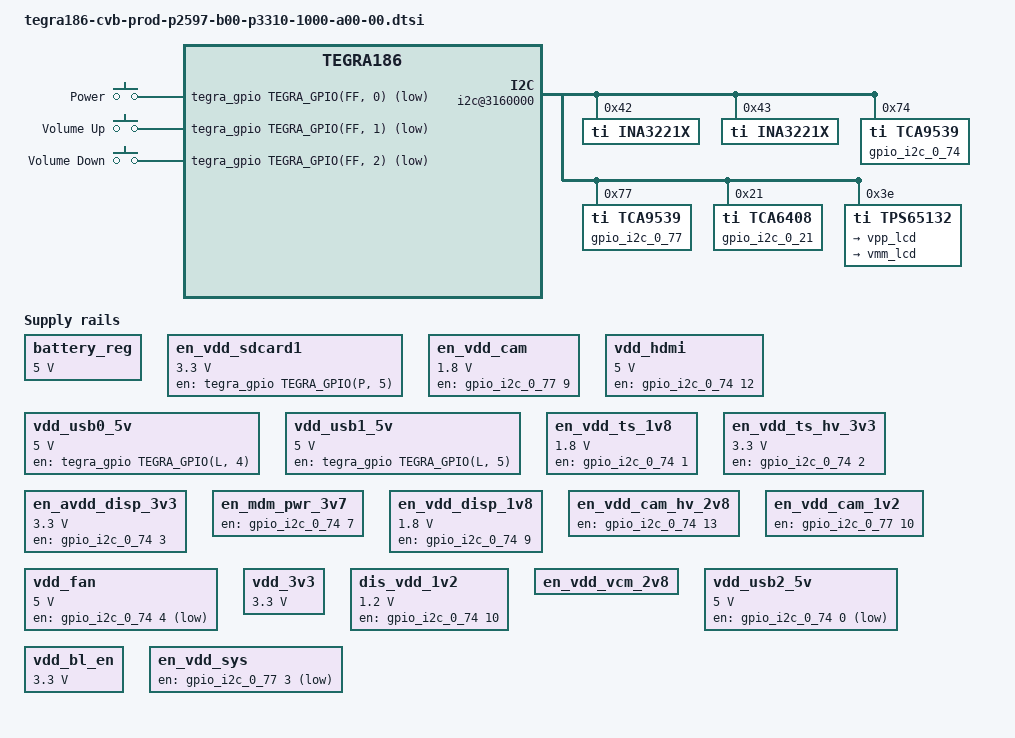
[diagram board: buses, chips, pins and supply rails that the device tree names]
/*
 * tegra186-cvb-prod-p2597-b00-p3310-1000-a00-00.dtsi: CVB-PROD P2597-B00 with
 *				P3310-1000
 *
 * Copyright (c) 2015-2016, NVIDIA CORPORATION.  All rights reserved.
 *
 * This program is free software; you can redistribute it and/or modify
 * it under the terms of the GNU General Public License as published by
 * the Free Software Foundation; version 2 of the License.
 *
 * This program is distributed in the hope that it will be useful, but WITHOUT
 * ANY WARRANTY; without even the implied warranty of MERCHANTABILITY or
 * FITNESS FOR A PARTICULAR PURPOSE.  See the GNU General Public License for
 * more details.
 */

#include <dt-bindings/gpio/tegra-gpio.h>
#include <dt-bindings/input/input.h>

/ {

	i2c@3160000 {
		ina3221x@42 {
			compatible = "ti,ina3221x";
			reg = <0x42>;
			ti,trigger-config = <0x7003>;
			ti,continuous-config = <0x7c07>;
			ti,enable-forced-continuous;
			#address-cells = <1>;
			#size-cells = <0>;
			channel@0 {
				reg = <0x0>;
				ti,rail-name = "VDD_MUX";
				ti,shunt-resistor-mohm = <20>;
			};
			channel@1 {
				reg = <0x1>;
				ti,rail-name = "VDD_5V0_IO_SYS";
				ti,shunt-resistor-mohm = <5>;
			};
			channel@2 {
				reg = <0x2>;
				ti,rail-name = "VDD_3V3_SYS";
				ti,shunt-resistor-mohm = <10>;
			};
		};

		ina3221x@43 {
			compatible = "ti,ina3221x";
			reg = <0x43>;
			ti,trigger-config = <0x7003>;
			ti,continuous-config = <0x7c07>;
			ti,enable-forced-continuous;
			#address-cells = <1>;
			#size-cells = <0>;
			channel@0 {
				reg = <0x0>;
				ti,rail-name = "VDD_3V3_IO_SLP";
				ti,shunt-resistor-mohm = <10>;
			};
			channel@1 {
				reg = <0x1>;
				ti,rail-name = "VDD_1V8_IO";
				ti,shunt-resistor-mohm = <10>;
			};
			channel@2 {
				reg = <0x2>;
				ti,rail-name = "VDD_3V3_SYS_M2";
				ti,shunt-resistor-mohm = <10>;
			};
		};

		gpio_i2c_0_74: gpio@74 {
			compatible = "ti,tca9539";
			reg = <0x74>;
			gpio-controller;
			#gpio-cells = <2>;
		};
		gpio@74 {
			enable-touch-rails {
				gpio-output-high = <1 2>;
			};
		};

		gpio_i2c_0_77: gpio@77 {
			compatible = "ti,tca9539";
			reg = <0x77>;
			gpio-controller;
			#gpio-cells = <2>;
		};


		gpio_i2c_0_21: gpio@21 {
			compatible = "ti,tca6408";
			reg = <0x21>;
			gpio-controller;
			#gpio-cells = <2>;
		};

		/* outp,outn enable gpios set through plugin manager dt */
		tps65132@3e {
			reg = <0x3e>;
			compatible = "ti,tps65132";
			status = "okay";
			vpp_lcd: outp {
				regulator-name = "outp";
				regulator-min-microvol = <4000000>;
				regulator-max-microvol = <6000000>;
				enable-active-high;
			};

			vmm_lcd: outn {
				regulator-name = "outn";
				regulator-min-microvol = <4000000>;
				regulator-max-microvol = <6000000>;
				enable-active-high;
				ti,disable-active-discharge;
			};
		};

	};

	fixed-regulators {
		battery_reg: regulator@0 {
			compatible = "regulator-fixed";
			reg = <0>;
			regulator-name = "vdd-ac-bat";
			regulator-min-microvolt = <5000000>;
			regulator-max-microvolt = <5000000>;
			regulator-always-on;
		};

		en_vdd_sdcard1: regulator@1 {
			compatible = "regulator-fixed-sync";
			reg = <1>;
			regulator-name = "en-vdd-sd";
			regulator-min-microvolt = <3300000>;
			regulator-max-microvolt = <3300000>;
			gpio = <&tegra_gpio TEGRA_GPIO(P, 5) 0>;
			enable-active-high;
		};

		en_vdd_cam: regulator@2 {
			compatible = "regulator-fixed-sync";
			reg = <2>;
			regulator-name = "en-vdd-cam";
			regulator-min-microvolt = <1800000>;
			regulator-max-microvolt = <1800000>;
			gpio = <&gpio_i2c_0_77 9 1>;
			enable-active-high;
		};

		vdd_hdmi: regulator@3 {
			compatible = "regulator-fixed-sync";
			reg = <3>;
			regulator-name = "vdd-hdmi";
			regulator-min-microvolt = <5000000>;
			regulator-max-microvolt = <5000000>;
			gpio = <&gpio_i2c_0_74 12 1>;
			enable-active-high;
		};

		vdd_usb0_5v: regulator@4 {
			compatible = "regulator-fixed-sync";
			reg = <4>;
			regulator-name = "vdd-usb0-5v";
			regulator-min-microvolt = <5000000>;
			regulator-max-microvolt = <5000000>;
			gpio = <&tegra_gpio TEGRA_GPIO(L, 4) 0>;
			enable-active-high;
		};

		vdd_usb1_5v: regulator@5 {
			compatible = "regulator-fixed-sync";
			reg = <5>;
			regulator-name = "vdd-usb1-5v";
			regulator-min-microvolt = <5000000>;
			regulator-max-microvolt = <5000000>;
			gpio = <&tegra_gpio TEGRA_GPIO(L, 5) 0>;
			enable-active-high;
		};

		en_vdd_ts_1v8: regulator@6 {
			compatible = "regulator-fixed-sync";
			reg = <6>;
			regulator-name = "en-vdd-ts-1v8";
			regulator-min-microvolt = <1800000>;
			regulator-max-microvolt = <1800000>;
			gpio = <&gpio_i2c_0_74 1 1>;
			enable-active-high;
			regulator-always-on;
			regulator-boot-on;
		};

		en_vdd_ts_hv_3v3: regulator@7 {
			compatible = "regulator-fixed-sync";
			reg = <7>;
			regulator-name = "en-vdd-ts-hv-3v3";
			regulator-min-microvolt = <3300000>;
			regulator-max-microvolt = <3300000>;
			gpio = <&gpio_i2c_0_74 2 1>;
			enable-active-high;
			regulator-always-on;
			regulator-boot-on;
		};

		en_avdd_disp_3v3: regulator@8 {
			compatible = "regulator-fixed-sync";
			reg = <8>;
			regulator-name = "en-vdd-disp-3v3";
			regulator-min-microvolt = <3300000>;
			regulator-max-microvolt = <3300000>;
			gpio = <&gpio_i2c_0_74 3 0>;
			enable-active-high;
		};

		en_mdm_pwr_3v7: regulator@9 {
			compatible = "regulator-fixed-sync";
			reg = <9>;
			regulator-name = "en-mdm-pwr-3v7";
			regulator-min-microvol = <3700000>;
			regulator-max-microvol = <3700000>;
			gpio = <&gpio_i2c_0_74 7 1>;
			enable-active-high;
		};

		en_vdd_disp_1v8: regulator@10 {
			compatible = "regulator-fixed-sync";
			reg = <10>;
			regulator-name = "en-vdd-disp-1v8";
			regulator-min-microvolt = <1800000>;
			regulator-max-microvolt = <1800000>;
			gpio = <&gpio_i2c_0_74 9 1>;
			enable-active-high;
		};

		en_vdd_cam_hv_2v8: regulator@11 {
			compatible = "regulator-fixed-sync";
			reg = <11>;
			regulator-name = "en-vdd-cam-hv-2v8";
			regulator-min-microvol = <2800000>;
			regulator-max-microvol = <2800000>;
			gpio = <&gpio_i2c_0_74 13 1>;
			enable-active-high;
		};

		en_vdd_cam_1v2: regulator@12 {
			compatible = "regulator-fixed-sync";
			reg = <12>;
			regulator-name = "en-vdd-cam-1v2";
			regulator-min-microvol = <1200000>;
			regulator-max-microvol = <1200000>;
			gpio = <&gpio_i2c_0_77 10 0>;
			enable-active-high;
		};

		vdd_fan: regulator@13 {
			compatible = "regulator-fixed-sync";
			reg = <13>;
			regulator-name = "vdd-fan";
			regulator-min-microvolt = <5000000>;
			regulator-max-microvolt = <5000000>;
			gpio = <&gpio_i2c_0_74 4 0>;
		};

		vdd_3v3: regulator@14 {
			compatible = "regulator-fixed-sync";
			reg = <14>;
			regulator-name = "vdd-3v3";
			regulator-min-microvolt = <3300000>;
			regulator-max-microvolt = <3300000>;
		};

		dis_vdd_1v2: regulator@15 {
			compatible = "regulator-fixed-sync";
			reg = <15>;
			regulator-name = "dis-vdd-1v2";
			regulator-min-microvolt = <1200000>;
			regulator-max-microvolt = <1200000>;
			gpio = <&gpio_i2c_0_74 10 1>;
			enable-active-high;
			regulator-always-on;
			regulator-boot-on;
		};

		en_vdd_vcm_2v8: regulator@16 {
			compatible = "regulator-fixed-sync";
			reg = <16>;
			regulator-name = "en-vdd-vcm-2v8";
			regulator-min-microvol = <2800000>;
			regulator-max-microvol = <2800000>;
			enable-active-high;
		};

		vdd_usb2_5v: regulator@17 {
			compatible = "regulator-fixed-sync";
			reg = <17>;
			regulator-name = "vdd-usb2-5v";
			regulator-min-microvolt = <5000000>;
			regulator-max-microvolt = <5000000>;
			gpio = <&gpio_i2c_0_74 0 0>;
		};

		vdd_bl_en: regulator@18 {
			compatible = "regulator-fixed-sync";
			reg = <18>;
			regulator-name = "vdd-sys-bl";
			regulator-min-microvolt = <3300000>;
			regulator-max-microvolt = <3300000>;
		};

		en_vdd_sys: regulator@118 {
			compatible = "regulator-fixed-sync";
			reg = <118>;
			regulator-name = "en-vdd-sys";
			regulator-min-microvol = <1200000>;
			regulator-max-microvol = <1200000>;
			gpio = <&gpio_i2c_0_77 3 1>;
		};
	};

	gpio-keys {
		compatible = "gpio-keys";
		gpio-keys,name = "gpio-keys";

		power {
			label = "Power";
			gpios = <&tegra_gpio TEGRA_GPIO(FF, 0) GPIO_ACTIVE_LOW>;
			linux,code = <KEY_POWER>;
			gpio-key,wakeup;
		};

		volume_up {
			label = "Volume Up";
			gpios = <&tegra_gpio TEGRA_GPIO(FF, 1) GPIO_ACTIVE_LOW>;
			linux,code = <KEY_VOLUMEUP>;
		};

		volume_down {
			label = "Volume Down";
			gpios = <&tegra_gpio TEGRA_GPIO(FF, 2) GPIO_ACTIVE_LOW>;
			linux,code = <KEY_VOLUMEDOWN>;
		};
	};
};
